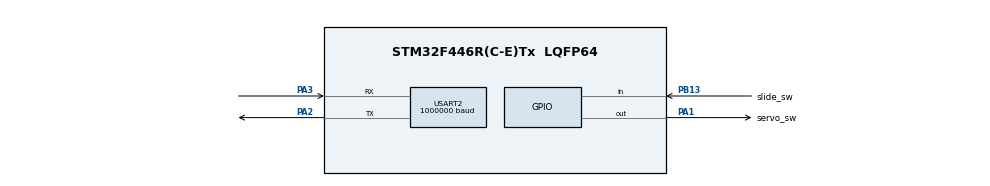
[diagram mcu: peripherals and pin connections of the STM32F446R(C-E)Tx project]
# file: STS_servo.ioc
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Dma.Request0=USART2_RX
Dma.USART2_RX.0.Direction=DMA_PERIPH_TO_MEMORY
Dma.USART2_RX.0.FIFOMode=DMA_FIFOMODE_DISABLE
Dma.USART2_RX.0.Instance=DMA1_Stream5
Dma.USART2_RX.0.MemDataAlignment=DMA_MDATAALIGN_BYTE
Dma.USART2_RX.0.MemInc=DMA_MINC_ENABLE
Dma.USART2_RX.0.Mode=DMA_CIRCULAR
Dma.USART2_RX.0.PeriphDataAlignment=DMA_PDATAALIGN_BYTE
Dma.USART2_RX.0.PeriphInc=DMA_PINC_DISABLE
Dma.USART2_RX.0.Priority=DMA_PRIORITY_VERY_HIGH
Mcu.Family=STM32F4
Mcu.Name=STM32F446R(C-E)Tx
Mcu.Package=LQFP64
NVIC.DMA1_Stream5_IRQn=true\:0\:0\:false\:false\:true\:false\:true\:true
NVIC.PriorityGroup=NVIC_PRIORITYGROUP_4
PA1.GPIO_Label=servo_sw
PA1.Signal=GPIO_Output
PA2.Mode=Asynchronous
PA2.Signal=USART2_TX
PA3.Mode=Asynchronous
PA3.Signal=USART2_RX
PB13.GPIO_Label=slide_sw
PB13.Signal=GPIO_Input
ProjectManager.HeapSize=0x200
ProjectManager.StackSize=0x400
ProjectManager.TargetToolchain=STM32CubeIDE
RCC.CortexFreq_Value=16000000
RCC.USBFreq_Value=96000000
RCC.VCOOutputFreq_Value=192000000
USART2.BaudRate=1000000
USART2.VirtualMode=VM_ASYNC
board=custom

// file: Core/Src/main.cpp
/* USER CODE BEGIN Header */
/**
  ******************************************************************************
  * @file           : main.c
  * @brief          : Main program body
  ******************************************************************************
  * @attention
  *
  * Copyright (c) 2024 STMicroelectronics.
  * All rights reserved.
  *
  * This software is licensed under terms that can be found in the LICENSE file
  * in the root directory of this software component.
  * If no LICENSE file comes with this software, it is provided AS-IS.
  *
  ******************************************************************************
  */
/* USER CODE END Header */
#include "main.h"

/* USER CODE BEGIN Includes */
#include "STS.h"

/* USER CODE END Includes */

UART_HandleTypeDef huart2;
DMA_HandleTypeDef hdma_usart2_rx;

/* USER CODE BEGIN PV */
STS servo0(&huart2, 0);
STS servo1(&huart2, 1);
STS servo2(&huart2, 2);
STS servo3(&huart2, 3);
static int16_t pos0 = 0;
static int16_t pos1 = 0;
static int16_t pos2 = 0;
static int16_t pos3 = 0;
static uint8_t rxBuf[128];

/* USER CODE END PV */

void SystemClock_Config(void);
static void MX_GPIO_Init(void);
static void MX_DMA_Init(void);
static void MX_USART2_UART_Init(void);
/* USER CODE BEGIN PFP */
void get_position(uint8_t ID);

/* USER CODE END PFP */

int main(void)
{

  /* MCU Configuration--------------------------------------------------------*/

  /* Reset of all peripherals, Initializes the Flash interface and the Systick. */
  HAL_Init();

  /* Configure the system clock */
  SystemClock_Config();

  /* Initialize all configured peripherals */
  MX_GPIO_Init();
  MX_DMA_Init();
  MX_USART2_UART_Init();
  /* USER CODE BEGIN 2 */
  HAL_UART_Receive_DMA(&huart2, rxBuf, sizeof(rxBuf));
  HAL_GPIO_WritePin(servo_sw_GPIO_Port, servo_sw_Pin, GPIO_PIN_SET);
  HAL_Delay(1000);

  /* USER CODE END 2 */

  /* Infinite loop */
  while (1)
  {

    /* USER CODE BEGIN 3 */
	  get_position(0);
	  get_position(2);

	  if(HAL_GPIO_ReadPin(slide_sw_GPIO_Port, slide_sw_Pin) == 1){
		get_position(0);
		servo0.moveCont(500, 3000, pos0);
		get_position(1);
		servo1.moveStop(500, 3000);
		get_position(2);
		servo2.moveCont(500, 3000, pos2);
	  }else{
		get_position(0);
		servo0.moveCont(-500, 1000, pos0);
		get_position(1);
		servo1.moveStop(500, 1000);
		get_position(2);
		servo2.moveCont(-500, 1000, pos2);
	  }

  }
  /* USER CODE END 3 */
}

void SystemClock_Config(void)
{
  RCC_OscInitTypeDef RCC_OscInitStruct = {0};
  RCC_ClkInitTypeDef RCC_ClkInitStruct = {0};

  /** Configure the main internal regulator output voltage
  */
  __HAL_RCC_PWR_CLK_ENABLE();
  __HAL_PWR_VOLTAGESCALING_CONFIG(PWR_REGULATOR_VOLTAGE_SCALE3);

  /** Initializes the RCC Oscillators according to the specified parameters
  * in the RCC_OscInitTypeDef structure.
  */
  RCC_OscInitStruct.OscillatorType = RCC_OSCILLATORTYPE_HSI;
  RCC_OscInitStruct.HSIState = RCC_HSI_ON;
  RCC_OscInitStruct.HSICalibrationValue = RCC_HSICALIBRATION_DEFAULT;
  RCC_OscInitStruct.PLL.PLLState = RCC_PLL_NONE;
  if (HAL_RCC_OscConfig(&RCC_OscInitStruct) != HAL_OK)
  {
    Error_Handler();
  }

  /** Initializes the CPU, AHB and APB buses clocks
  */
  RCC_ClkInitStruct.ClockType = RCC_CLOCKTYPE_HCLK|RCC_CLOCKTYPE_SYSCLK
                              |RCC_CLOCKTYPE_PCLK1|RCC_CLOCKTYPE_PCLK2;
  RCC_ClkInitStruct.SYSCLKSource = RCC_SYSCLKSOURCE_HSI;
  RCC_ClkInitStruct.AHBCLKDivider = RCC_SYSCLK_DIV1;
  RCC_ClkInitStruct.APB1CLKDivider = RCC_HCLK_DIV1;
  RCC_ClkInitStruct.APB2CLKDivider = RCC_HCLK_DIV1;

  if (HAL_RCC_ClockConfig(&RCC_ClkInitStruct, FLASH_LATENCY_0) != HAL_OK)
  {
    Error_Handler();
  }
}

static void MX_USART2_UART_Init(void)
{

  huart2.Instance = USART2;
  huart2.Init.BaudRate = 1000000;
  huart2.Init.WordLength = UART_WORDLENGTH_8B;
  huart2.Init.StopBits = UART_STOPBITS_1;
  huart2.Init.Parity = UART_PARITY_NONE;
  huart2.Init.Mode = UART_MODE_TX_RX;
  huart2.Init.HwFlowCtl = UART_HWCONTROL_NONE;
  huart2.Init.OverSampling = UART_OVERSAMPLING_16;
  if (HAL_UART_Init(&huart2) != HAL_OK)
  {
    Error_Handler();
  }

}

static void MX_DMA_Init(void)
{

  /* DMA controller clock enable */
  __HAL_RCC_DMA1_CLK_ENABLE();

  /* DMA interrupt init */
  /* DMA1_Stream5_IRQn interrupt configuration */
  HAL_NVIC_SetPriority(DMA1_Stream5_IRQn, 0, 0);
  HAL_NVIC_EnableIRQ(DMA1_Stream5_IRQn);

}

static void MX_GPIO_Init(void)
{
  GPIO_InitTypeDef GPIO_InitStruct = {0};

  /* GPIO Ports Clock Enable */
  __HAL_RCC_GPIOA_CLK_ENABLE();
  __HAL_RCC_GPIOB_CLK_ENABLE();

  /*Configure GPIO pin Output Level */
  HAL_GPIO_WritePin(servo_sw_GPIO_Port, servo_sw_Pin, GPIO_PIN_RESET);

  /*Configure GPIO pin : servo_sw_Pin */
  GPIO_InitStruct.Pin = servo_sw_Pin;
  GPIO_InitStruct.Mode = GPIO_MODE_OUTPUT_PP;
  GPIO_InitStruct.Pull = GPIO_NOPULL;
  GPIO_InitStruct.Speed = GPIO_SPEED_FREQ_LOW;
  HAL_GPIO_Init(servo_sw_GPIO_Port, &GPIO_InitStruct);

  /*Configure GPIO pin : slide_sw_Pin */
  GPIO_InitStruct.Pin = slide_sw_Pin;
  GPIO_InitStruct.Mode = GPIO_MODE_INPUT;
  GPIO_InitStruct.Pull = GPIO_NOPULL;
  HAL_GPIO_Init(slide_sw_GPIO_Port, &GPIO_InitStruct);

}

/* USER CODE BEGIN 4 */
void get_position(uint8_t ID)
{
	static int16_t inst_pos0 = 0;
	static int16_t inst_pos1 = 0;
	static int16_t inst_pos2 = 0;
	static int16_t inst_pos3 = 0;
	static uint8_t index = 0;
	uint8_t checksum = 0;
	uint8_t read[15] = {0};
	uint8_t position[6] = {0};

  switch (ID)
  {
  case 0:
    servo0.send();
    break;
  case 1:
    servo1.send();
    break;
  case 2:
    servo2.send();
    break;
  case 3:
    servo3.send();
    break;
  default:
    break;
  }

  index = huart2.hdmarx->Instance->NDTR;
  index = sizeof(rxBuf) - index;

  if (index >= 15)
  {
    for (int i = 0; i < 15; i++)
    {
      read[i] = rxBuf[index - 14 + i];
      HAL_Delay(1);
    }
  }

  for (int i = 0; i < 8; i++)
  {
    if (read[i] == 255 && read[i + 1] == 255)
    {
      for (int j = 0; j < 6; j++)
      {
        position[j] = read[i + j + 2];
      }
    }
  }

  for (int i = 0; i < 5; i++)
  {
    checksum += position[i];
  }
  checksum = ~checksum;

  if (checksum == position[5] && position[0] == 0)
  {
    inst_pos0 = position[3] + position[4] * 256;
    pos0 = servo0.calculate_position(inst_pos0);
  }
  if (checksum == position[5] && position[0] == 1)
  {
	inst_pos1 = position[3] + position[4] * 256;
	pos1 = servo1.calculate_position(inst_pos1);
  }
  if (checksum == position[5] && position[0] == 2)
  {
	inst_pos2 = position[3] + position[4] * 256;
	pos2 = servo2.calculate_position(inst_pos2);
  }
  if (checksum == position[5] && position[0] == 3)
  {
	inst_pos3 = position[3] + position[4] * 256;
	pos3 = servo3.calculate_position(inst_pos3);
  }
}

/* USER CODE END 4 */

void Error_Handler(void)
{
  __disable_irq();
  while (1)
  {
  }
}
